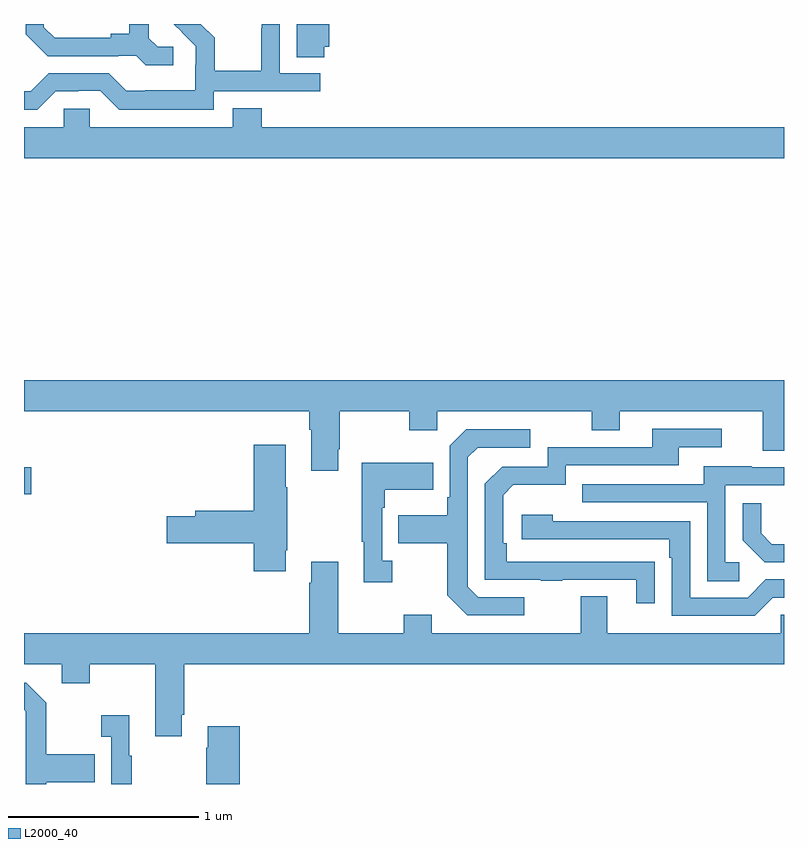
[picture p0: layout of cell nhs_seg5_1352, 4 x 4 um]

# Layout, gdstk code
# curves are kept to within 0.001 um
import gdstk
lib = gdstk.Library(unit=1e-6, precision=1e-09)
def R(c, l, rs):  # rectangles x0, y0, x1, y1
    for r in rs: c.add(gdstk.rectangle(r[:2], r[2:], *l))
def P(c, l, *ps):  # polygons
    for p in ps: c.add(gdstk.Polygon(p, *l))
L2000_40 = (2000, 40)

nhs_seg5_1352 = lib.new_cell('nhs_seg5_1352')
R(nhs_seg5_1352, L2000_40, [(193,856.325,193.039,856.467)])
P(nhs_seg5_1352, L2000_40, [(194.579,858.678),(194.606,858.678),(194.606,858.799),(194.435,858.799),(194.435,858.625),(194.579,858.625)],
  [(193.786,858.678),(193.704,858.678),(193.657,858.725),(193.657,858.799),(193.553,858.799),(193.553,858.749),(193.457,858.749),(193.457,858.726),(193.162,858.726),(193.105,858.783),(193.105,858.799),(193.008,858.799),(193.008,858.746),(193.124,858.63),(193.496,858.63),(193.496,858.633),(193.59,858.633),(193.642,858.581),(193.786,858.581)],
  [(193.998,858.444),(194.56,858.444),(194.56,858.54),(194.346,858.54),(194.346,858.799),(194.25,858.799),(194.25,858.776),(194.248,858.776),(194.248,858.553),(194.003,858.553),(194.003,858.727),(193.931,858.799),(193.789,858.799),(193.904,858.682),(193.904,858.585),(193.902,858.585),(193.902,858.451),(193.639,858.451),(193.639,858.447),(193.539,858.447),(193.446,858.54),(193.131,858.54),(193.035,858.444),(193,858.444),(193,858.348),(193.071,858.348),(193.167,858.444),(193.286,858.444),(193.286,858.447),(193.401,858.447),(193.501,858.347),(193.998,858.347)],
  [(197,858.256),(194.252,858.256),(194.252,858.355),(194.099,858.355),(194.099,858.256),(193.347,858.256),(193.347,858.354),(193.209,858.354),(193.209,858.256),(193,858.256),(193,858.092),(197,858.092)],
  [(194.653,856.561),(194.661,856.561),(194.661,856.76),(195.028,856.76),(195.028,856.661),(195.174,856.661),(195.174,856.76),(195.988,856.76),(195.988,856.661),(196.135,856.661),(196.135,856.76),(196.889,856.76),(196.889,856.552),(197,856.552),(197,856.924),(193,856.924),(193,856.76),(194.501,856.76),(194.501,856.664),(194.513,856.664),(194.513,856.449),(194.653,856.449)],
  [(196.319,855.968),(195.542,855.969),(195.542,856.066),(195.522,856.066),(195.522,856.32),(195.575,856.373),(195.852,856.373),(195.852,856.476),(196.447,856.476),(196.447,856.572),(196.672,856.572),(196.672,856.668),(196.307,856.668),(196.307,856.572),(195.756,856.572),(195.756,856.47),(195.516,856.47),(195.426,856.38),(195.426,855.873),(195.721,855.873),(195.721,855.868),(195.833,855.868),(195.833,855.873),(196.223,855.873),(196.223,855.75),(196.319,855.75)],
  [(195.634,855.783),(195.39,855.783),(195.336,855.837),(195.336,856.518),(195.387,856.569),(195.664,856.569),(195.664,856.665),(195.327,856.665),(195.24,856.578),(195.24,856.309),(195.228,856.309),(195.228,856.213),(194.971,856.213),(194.971,856.066),(195.228,856.066),(195.228,855.793),(195.333,855.687),(195.634,855.687)],
  [(194.377,856.03),(194.385,856.03),(194.385,856.361),(194.377,856.361),(194.377,856.585),(194.21,856.585),(194.21,856.238),(193.901,856.238),(193.901,856.208),(193.752,856.208),(193.752,856.066),(194.21,856.066),(194.21,855.918),(194.377,855.918)],
  [(194.938,855.974),(194.886,855.974),(194.886,856.253),(194.899,856.253),(194.899,856.349),(195.155,856.349),(195.155,856.489),(194.778,856.489),(194.778,856.073),(194.789,856.073),(194.789,855.861),(194.938,855.861)],
  [(196.765,855.966),(196.692,855.966),(196.692,856.371),(197,856.371),(197,856.467),(196.831,856.467),(196.831,856.471),(196.577,856.471),(196.577,856.377),(195.937,856.377),(195.937,856.281),(196.596,856.281),(196.596,855.865),(196.765,855.865)],
  [(197,856.062),(196.936,856.062),(196.879,856.119),(196.879,856.276),(196.782,856.276),(196.782,856.082),(196.898,855.966),(197,855.966)],
  [(196.941,855.78),(197,855.78),(197,855.876),(196.905,855.876),(196.809,855.78),(196.506,855.78),(196.506,856.182),(195.782,856.182),(195.782,856.216),(195.621,856.216),(195.621,856.086),(196.397,856.086),(196.397,855.989),(196.41,855.989),(196.41,855.684),(196.845,855.684)],
  [(193.831,855.163),(193.844,855.163),(193.844,855.428),(197,855.428),(197,855.69),(196.983,855.69),(196.983,855.592),(196.069,855.592),(196.069,855.787),(195.929,855.787),(195.929,855.592),(195.145,855.592),(195.145,855.691),(194.998,855.691),(194.998,855.592),(194.653,855.592),(194.653,855.97),(194.513,855.97),(194.513,855.857),(194.501,855.857),(194.501,855.592),(193,855.592),(193,855.428),(193.199,855.428),(193.199,855.329),(193.347,855.329),(193.347,855.428),(193.691,855.428),(193.691,855.051),(193.831,855.051)],
  [(193.117,854.807),(193.373,854.807),(193.373,854.955),(193.117,854.955),(193.117,855.227),(193.011,855.333),(193,855.333),(193,855.191),(193.008,855.183),(193.008,854.799),(193.117,854.799)],
  [(193.567,854.947),(193.555,854.947),(193.555,855.16),(193.407,855.16),(193.407,855.047),(193.458,855.047),(193.458,854.799),(193.567,854.799)],
  [(194.135,855.103),(193.967,855.103),(193.967,854.99),(193.96,854.99),(193.96,854.799),(194.135,854.799)])

lib.write_gds('nhs_seg5_1352.gds')
